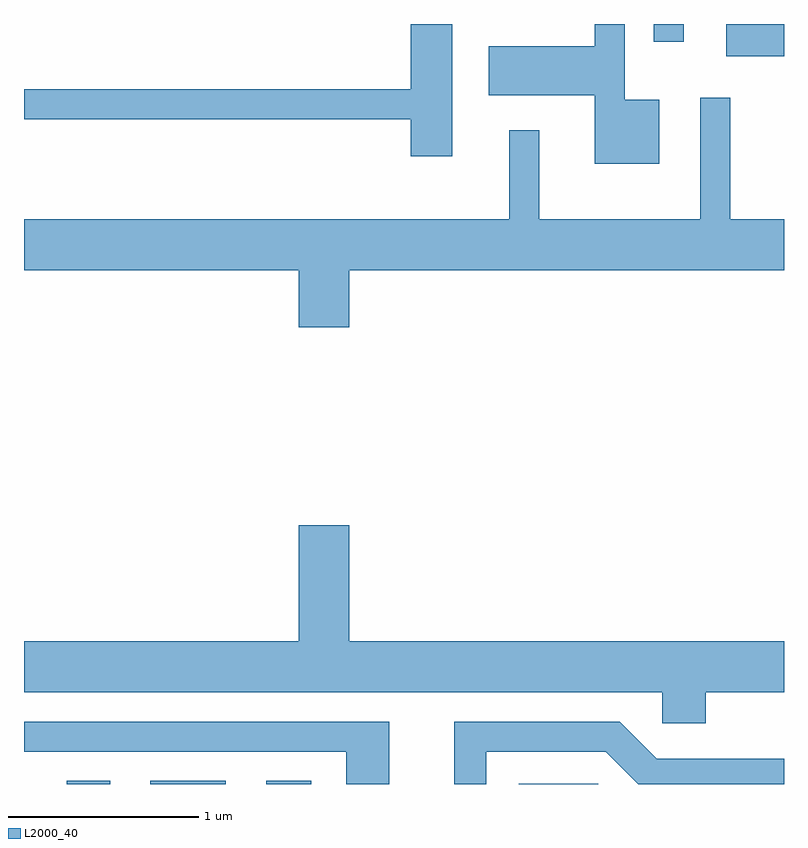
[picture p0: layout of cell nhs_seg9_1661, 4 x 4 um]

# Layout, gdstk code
import gdstk
lib = gdstk.Library(unit=1e-6, precision=1e-09)
def R(c, l, rs):  # rectangles x0, y0, x1, y1
    for r in rs: c.add(gdstk.rectangle(r[:2], r[2:], *l))
def P(c, l, *ps):  # polygons
    for p in ps: c.add(gdstk.Polygon(p, *l))
L2000_40 = (2000, 40)

nhs_seg9_1661 = lib.new_cell('nhs_seg9_1661')
R(nhs_seg9_1661, L2000_40, [(233.836,2002.432,234.064,2002.449), (234.276,2002.432,234.673,2002.449), (234.886,2002.432,235.123,2002.449), (236.216,2002.432,236.633,2002.434), (237.306,2006.261,237.611,2006.432), (236.926,2006.338,237.084,2006.432)])
P(nhs_seg9_1661, L2000_40, [(235.864,2006.432),(235.646,2006.432),(235.646,2006.089),(233.611,2006.089),(233.611,2005.931),(235.646,2005.931),(235.646,2005.736),(235.864,2005.736)],
  [(236.954,2006.034),(236.774,2006.034),(236.774,2006.432),(236.616,2006.432),(236.616,2006.314),(236.056,2006.314),(236.056,2006.056),(236.616,2006.056),(236.616,2005.696),(236.954,2005.696)],
  [(235.324,2005.136),(237.611,2005.136),(237.611,2005.404),(237.329,2005.404),(237.329,2006.043),(237.171,2006.043),(237.171,2005.404),(236.324,2005.404),(236.324,2005.873),(236.166,2005.873),(236.166,2005.404),(233.611,2005.404),(233.611,2005.136),(235.056,2005.136),(235.056,2004.836),(235.324,2004.836)],
  [(237.199,2002.916),(237.611,2002.916),(237.611,2003.184),(235.324,2003.184),(235.324,2003.794),(235.056,2003.794),(235.056,2003.184),(233.611,2003.184),(233.611,2002.916),(236.971,2002.916),(236.971,2002.751),(237.199,2002.751)],
  [(236.044,2002.601),(236.674,2002.601),(236.843,2002.432),(237.611,2002.432),(237.611,2002.564),(236.942,2002.564),(236.747,2002.759),(235.876,2002.759),(235.876,2002.432),(236.044,2002.432)],
  [(235.534,2002.759),(233.611,2002.759),(233.611,2002.601),(235.306,2002.601),(235.306,2002.432),(235.534,2002.432)])

lib.write_gds('nhs_seg9_1661.gds')
